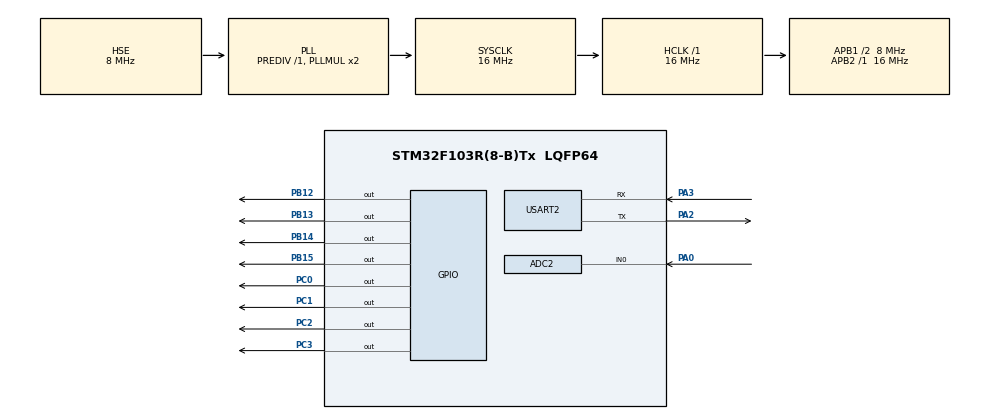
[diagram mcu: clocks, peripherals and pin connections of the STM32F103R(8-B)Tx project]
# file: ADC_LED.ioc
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ADC2.Channel-1\#ChannelRegularConversion=ADC_CHANNEL_0
ADC2.ContinuousConvMode=ENABLE
ADC2.NbrOfConversionFlag=1
ADC2.Rank-1\#ChannelRegularConversion=1
ADC2.SamplingTime-1\#ChannelRegularConversion=ADC_SAMPLETIME_13CYCLES_5
Mcu.Family=STM32F1
Mcu.Name=STM32F103R(8-B)Tx
Mcu.Package=LQFP64
NVIC.ADC1_2_IRQn=true\:0\:0\:false\:false\:true\:true\:true\:true
NVIC.PriorityGroup=NVIC_PRIORITYGROUP_4
PA0-WKUP.Signal=ADCx_IN0
PA2.Mode=Asynchronous
PA2.Signal=USART2_TX
PA3.Mode=Asynchronous
PA3.Signal=USART2_RX
PB12.Signal=GPIO_Output
PB13.Signal=GPIO_Output
PB14.Signal=GPIO_Output
PB15.Signal=GPIO_Output
PC0.Signal=GPIO_Output
PC1.Signal=GPIO_Output
PC14-OSC32_IN.Mode=LSE-External-Oscillator
PC14-OSC32_IN.Signal=RCC_OSC32_IN
PC15-OSC32_OUT.Mode=LSE-External-Oscillator
PC15-OSC32_OUT.Signal=RCC_OSC32_OUT
PC2.Signal=GPIO_Output
PC3.Signal=GPIO_Output
PD0-OSC_IN.Mode=HSE-External-Clock-Source
PD0-OSC_IN.Signal=RCC_OSC_IN
PD1-OSC_OUT.Mode=HSE-External-Clock-Source
PD1-OSC_OUT.Signal=RCC_OSC_OUT
ProjectManager.HeapSize=0x200
ProjectManager.StackSize=0x400
ProjectManager.TargetToolchain=STM32CubeIDE
RCC.AHBFreq_Value=16000000
RCC.APB1CLKDivider=RCC_HCLK_DIV2
RCC.APB1Freq_Value=8000000
RCC.APB1TimFreq_Value=16000000
RCC.APB2Freq_Value=16000000
RCC.APB2TimFreq_Value=16000000
RCC.HCLKFreq_Value=16000000
RCC.PLLSourceVirtual=RCC_PLLSOURCE_HSE
RCC.SYSCLKFreq_VALUE=16000000
RCC.SYSCLKSource=RCC_SYSCLKSOURCE_PLLCLK
RCC.USBFreq_Value=16000000
SH.ADCx_IN0.0=ADC2_IN0,IN0
USART2.VirtualMode=VM_ASYNC
board=custom

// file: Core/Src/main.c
/* USER CODE BEGIN Header */
/**
  ******************************************************************************
  * @file           : main.c
  * @brief          : Main program body
  ******************************************************************************
  * @attention
  *
  * Copyright (c) 2023 STMicroelectronics.
  * All rights reserved.
  *
  * This software is licensed under terms that can be found in the LICENSE file
  * in the root directory of this software component.
  * If no LICENSE file comes with this software, it is provided AS-IS.
  *
  ******************************************************************************
  */
/* USER CODE END Header */
#include "main.h"

/* USER CODE BEGIN Includes */
#include "stdio.h"

/* USER CODE END Includes */

/* USER CODE BEGIN PD */

#define ADC_MAX		4096
#define CDS_FACTOR		2.2
#define BASE_R			10
#define CDS_R_10LX		3 					// 주변 환경에 따라 변경 필요
#define CDS_R_3LX		CDS_R_10LX * CDS_FACTOR
#define CDS_R_1LX		CDS_R_3LX * CDS_FACTOR
#define CDS_R_0_3LX		CDS_R_1LX * CDS_FACTOR
#define CDS_R_0_1LX		CDS_R_0_3LX * CDS_FACTOR
#define CDS_R_0_03LX		CDS_R_0_1LX * CDS_FACTOR
#define CDS_R_0_01LX		CDS_R_0_03LX * CDS_FACTOR
#define CDS_R_0_003LX	CDS_R_0_01LX * CDS_FACTOR
#define ADC_10LX		(ADC_MAX * BASE_R) / (CDS_R_10LX + BASE_R)
#define ADC_3LX			(ADC_MAX * BASE_R) / (CDS_R_3LX + BASE_R)
#define ADC_1LX			(ADC_MAX * BASE_R) / (CDS_R_1LX + BASE_R)
#define ADC_0_3LX		(ADC_MAX * BASE_R) / (CDS_R_0_3LX + BASE_R)
#define ADC_0_1LX		(ADC_MAX * BASE_R) / (CDS_R_0_1LX + BASE_R)
#define ADC_0_03LX		(ADC_MAX * BASE_R) / (CDS_R_0_03LX + BASE_R)
#define ADC_0_01LX		(ADC_MAX * BASE_R) / (CDS_R_0_01LX + BASE_R)
#define ADC_0_003LX		(ADC_MAX * BASE_R) / (CDS_R_0_003LX + BASE_R)

/* USER CODE END PD */

ADC_HandleTypeDef hadc2;

UART_HandleTypeDef huart2;

/* USER CODE BEGIN PV */
int adc_value;
uint8_t count;

/* USER CODE END PV */

void SystemClock_Config(void);
static void MX_GPIO_Init(void);
static void MX_ADC2_Init(void);
static void MX_USART2_UART_Init(void);

/* USER CODE BEGIN 0 */
int __io_putchar(int ch) {
   HAL_UART_Transmit(&huart2, (uint8_t *)&ch, 1, 1000);
   if (ch == '\n')
      HAL_UART_Transmit(&huart2, (uint8_t *)"\r", 1, 1000);
   return ch;
}
typedef struct led {
  GPIO_TypeDef *port;
  uint16_t pin;
   } LED;
LED led[8] = {
  {GPIOC, GPIO_PIN_3},   {GPIOC, GPIO_PIN_2},
  {GPIOC, GPIO_PIN_1},   {GPIOC, GPIO_PIN_0},
  {GPIOB, GPIO_PIN_15},   {GPIOB, GPIO_PIN_14},
  {GPIOB, GPIO_PIN_13},   {GPIOB, GPIO_PIN_12},
};

void led_on(uint8_t count) {
  for(uint8_t i=0; i < count; i++) {
    HAL_GPIO_WritePin(led[i].port, led[i].pin, 1);
  }
}
void led_off() {
  for(uint8_t i=0; i < 8; i++) {
    HAL_GPIO_WritePin(led[i].port, led[i].pin, 0);
  }
}

/* USER CODE END 0 */

int main(void)
{

  /* MCU Configuration--------------------------------------------------------*/

  /* Reset of all peripherals, Initializes the Flash interface and the Systick. */
  HAL_Init();

  /* Configure the system clock */
  SystemClock_Config();

  /* Initialize all configured peripherals */
  MX_GPIO_Init();
  MX_ADC2_Init();
  MX_USART2_UART_Init();
  /* USER CODE BEGIN 2 */
  HAL_ADCEx_Calibration_Start(&hadc2);
  HAL_ADC_Start_IT(&hadc2);

  /* USER CODE END 2 */

  /* Infinite loop */
  /* USER CODE BEGIN WHILE */
  while (1)
  {

    /* USER CODE BEGIN 3 */
  }
  /* USER CODE END 3 */
}

/**
  * @brief System Clock Configuration
  * @retval None
  */
void SystemClock_Config(void)
{
  RCC_OscInitTypeDef RCC_OscInitStruct = {0};
  RCC_ClkInitTypeDef RCC_ClkInitStruct = {0};
  RCC_PeriphCLKInitTypeDef PeriphClkInit = {0};

  /** Initializes the RCC Oscillators according to the specified parameters
  * in the RCC_OscInitTypeDef structure.
  */
  RCC_OscInitStruct.OscillatorType = RCC_OSCILLATORTYPE_HSE;
  RCC_OscInitStruct.HSEState = RCC_HSE_BYPASS;
  RCC_OscInitStruct.HSEPredivValue = RCC_HSE_PREDIV_DIV1;
  RCC_OscInitStruct.HSIState = RCC_HSI_ON;
  RCC_OscInitStruct.PLL.PLLState = RCC_PLL_ON;
  RCC_OscInitStruct.PLL.PLLSource = RCC_PLLSOURCE_HSE;
  RCC_OscInitStruct.PLL.PLLMUL = RCC_PLL_MUL2;
  if (HAL_RCC_OscConfig(&RCC_OscInitStruct) != HAL_OK)
  {
    Error_Handler();
  }

  /** Initializes the CPU, AHB and APB buses clocks
  */
  RCC_ClkInitStruct.ClockType = RCC_CLOCKTYPE_HCLK|RCC_CLOCKTYPE_SYSCLK
                              |RCC_CLOCKTYPE_PCLK1|RCC_CLOCKTYPE_PCLK2;
  RCC_ClkInitStruct.SYSCLKSource = RCC_SYSCLKSOURCE_PLLCLK;
  RCC_ClkInitStruct.AHBCLKDivider = RCC_SYSCLK_DIV1;
  RCC_ClkInitStruct.APB1CLKDivider = RCC_HCLK_DIV2;
  RCC_ClkInitStruct.APB2CLKDivider = RCC_HCLK_DIV1;

  if (HAL_RCC_ClockConfig(&RCC_ClkInitStruct, FLASH_LATENCY_0) != HAL_OK)
  {
    Error_Handler();
  }
  PeriphClkInit.PeriphClockSelection = RCC_PERIPHCLK_ADC;
  PeriphClkInit.AdcClockSelection = RCC_ADCPCLK2_DIV2;
  if (HAL_RCCEx_PeriphCLKConfig(&PeriphClkInit) != HAL_OK)
  {
    Error_Handler();
  }
}

/**
  * @brief ADC2 Initialization Function
  * @param None
  * @retval None
  */
static void MX_ADC2_Init(void)
{

  /* USER CODE BEGIN ADC2_Init 0 */

  /* USER CODE END ADC2_Init 0 */

  ADC_ChannelConfTypeDef sConfig = {0};

  /* USER CODE BEGIN ADC2_Init 1 */

  /* USER CODE END ADC2_Init 1 */

  /** Common config
  */
  hadc2.Instance = ADC2;
  hadc2.Init.ScanConvMode = ADC_SCAN_DISABLE;
  hadc2.Init.ContinuousConvMode = ENABLE;
  hadc2.Init.DiscontinuousConvMode = DISABLE;
  hadc2.Init.ExternalTrigConv = ADC_SOFTWARE_START;
  hadc2.Init.DataAlign = ADC_DATAALIGN_RIGHT;
  hadc2.Init.NbrOfConversion = 1;
  if (HAL_ADC_Init(&hadc2) != HAL_OK)
  {
    Error_Handler();
  }

  /** Configure Regular Channel
  */
  sConfig.Channel = ADC_CHANNEL_0;
  sConfig.Rank = ADC_REGULAR_RANK_1;
  sConfig.SamplingTime = ADC_SAMPLETIME_13CYCLES_5;
  if (HAL_ADC_ConfigChannel(&hadc2, &sConfig) != HAL_OK)
  {
    Error_Handler();
  }
  /* USER CODE BEGIN ADC2_Init 2 */

  /* USER CODE END ADC2_Init 2 */

}

/**
  * @brief USART2 Initialization Function
  * @param None
  * @retval None
  */
static void MX_USART2_UART_Init(void)
{

  /* USER CODE BEGIN USART2_Init 0 */

  /* USER CODE END USART2_Init 0 */

  /* USER CODE BEGIN USART2_Init 1 */

  /* USER CODE END USART2_Init 1 */
  huart2.Instance = USART2;
  huart2.Init.BaudRate = 115200;
  huart2.Init.WordLength = UART_WORDLENGTH_8B;
  huart2.Init.StopBits = UART_STOPBITS_1;
  huart2.Init.Parity = UART_PARITY_NONE;
  huart2.Init.Mode = UART_MODE_TX_RX;
  huart2.Init.HwFlowCtl = UART_HWCONTROL_NONE;
  huart2.Init.OverSampling = UART_OVERSAMPLING_16;
  if (HAL_UART_Init(&huart2) != HAL_OK)
  {
    Error_Handler();
  }
  /* USER CODE BEGIN USART2_Init 2 */

  /* USER CODE END USART2_Init 2 */

}

/**
  * @brief GPIO Initialization Function
  * @param None
  * @retval None
  */
static void MX_GPIO_Init(void)
{
  GPIO_InitTypeDef GPIO_InitStruct = {0};
/* USER CODE BEGIN MX_GPIO_Init_1 */
/* USER CODE END MX_GPIO_Init_1 */

  /* GPIO Ports Clock Enable */
  __HAL_RCC_GPIOC_CLK_ENABLE();
  __HAL_RCC_GPIOD_CLK_ENABLE();
  __HAL_RCC_GPIOA_CLK_ENABLE();
  __HAL_RCC_GPIOB_CLK_ENABLE();

  /*Configure GPIO pin Output Level */
  HAL_GPIO_WritePin(GPIOC, GPIO_PIN_0|GPIO_PIN_1|GPIO_PIN_2|GPIO_PIN_3, GPIO_PIN_RESET);

  /*Configure GPIO pin Output Level */
  HAL_GPIO_WritePin(GPIOB, GPIO_PIN_12|GPIO_PIN_13|GPIO_PIN_14|GPIO_PIN_15, GPIO_PIN_RESET);

  /*Configure GPIO pins : PC0 PC1 PC2 PC3 */
  GPIO_InitStruct.Pin = GPIO_PIN_0|GPIO_PIN_1|GPIO_PIN_2|GPIO_PIN_3;
  GPIO_InitStruct.Mode = GPIO_MODE_OUTPUT_PP;
  GPIO_InitStruct.Pull = GPIO_NOPULL;
  GPIO_InitStruct.Speed = GPIO_SPEED_FREQ_LOW;
  HAL_GPIO_Init(GPIOC, &GPIO_InitStruct);

  /*Configure GPIO pins : PB12 PB13 PB14 PB15 */
  GPIO_InitStruct.Pin = GPIO_PIN_12|GPIO_PIN_13|GPIO_PIN_14|GPIO_PIN_15;
  GPIO_InitStruct.Mode = GPIO_MODE_OUTPUT_PP;
  GPIO_InitStruct.Pull = GPIO_NOPULL;
  GPIO_InitStruct.Speed = GPIO_SPEED_FREQ_LOW;
  HAL_GPIO_Init(GPIOB, &GPIO_InitStruct);

/* USER CODE BEGIN MX_GPIO_Init_2 */
/* USER CODE END MX_GPIO_Init_2 */
}

/* USER CODE BEGIN 4 */
void HAL_ADC_ConvCpltCallback(ADC_HandleTypeDef *hadc){
	adc_value =  HAL_ADC_GetValue(&hadc2);
	if(hadc == &hadc2){
		if(adc_value > ADC_10LX){
			count = 0;
			led_off();
		}
		if(adc_value == ADC_10LX){
			count = 1;
			led_off();
			led_on(count);
		}
		else if (adc_value >= ADC_3LX) {
			count = 2;
			led_off();
			led_on(count);
		}
		else if (adc_value >= ADC_1LX) {
			count = 3;
			led_off();
			led_on(count);
		}
		else if (adc_value >= ADC_0_3LX) {
			count = 4;
			led_off();
			led_on(count);
		}
		else if (adc_value >= ADC_0_1LX) {
			count = 5;
			led_off();
			led_on(count);
		}
		else if (adc_value >= ADC_0_03LX) {
			count = 6;
			led_off();
			led_on(count);
		}
		else if (adc_value >= ADC_0_01LX) {
			count = 7;
			led_off();
			led_on(count);
		}
		else if (adc_value >= ADC_0_003LX) {
			count = 8;
			led_off();
			led_on(count);
		}
	}
    /* USER CODE END WHILE */

  }
}

void SystemClock_Config(void)
{
  RCC_OscInitTypeDef RCC_OscInitStruct = {0};
  RCC_ClkInitTypeDef RCC_ClkInitStruct = {0};
  RCC_PeriphCLKInitTypeDef PeriphClkInit = {0};

  /** Initializes the RCC Oscillators according to the specified parameters
  * in the RCC_OscInitTypeDef structure.
  */
  RCC_OscInitStruct.OscillatorType = RCC_OSCILLATORTYPE_HSE;
  RCC_OscInitStruct.HSEState = RCC_HSE_BYPASS;
  RCC_OscInitStruct.HSEPredivValue = RCC_HSE_PREDIV_DIV1;
  RCC_OscInitStruct.HSIState = RCC_HSI_ON;
  RCC_OscInitStruct.PLL.PLLState = RCC_PLL_ON;
  RCC_OscInitStruct.PLL.PLLSource = RCC_PLLSOURCE_HSE;
  RCC_OscInitStruct.PLL.PLLMUL = RCC_PLL_MUL2;
  if (HAL_RCC_OscConfig(&RCC_OscInitStruct) != HAL_OK)
  {
    Error_Handler();
  }

  /** Initializes the CPU, AHB and APB buses clocks
  */
  RCC_ClkInitStruct.ClockType = RCC_CLOCKTYPE_HCLK|RCC_CLOCKTYPE_SYSCLK
                              |RCC_CLOCKTYPE_PCLK1|RCC_CLOCKTYPE_PCLK2;
  RCC_ClkInitStruct.SYSCLKSource = RCC_SYSCLKSOURCE_PLLCLK;
  RCC_ClkInitStruct.AHBCLKDivider = RCC_SYSCLK_DIV1;
  RCC_ClkInitStruct.APB1CLKDivider = RCC_HCLK_DIV2;
  RCC_ClkInitStruct.APB2CLKDivider = RCC_HCLK_DIV1;

  if (HAL_RCC_ClockConfig(&RCC_ClkInitStruct, FLASH_LATENCY_0) != HAL_OK)
  {
    Error_Handler();
  }
  PeriphClkInit.PeriphClockSelection = RCC_PERIPHCLK_ADC;
  PeriphClkInit.AdcClockSelection = RCC_ADCPCLK2_DIV2;
  if (HAL_RCCEx_PeriphCLKConfig(&PeriphClkInit) != HAL_OK)
  {
    Error_Handler();
  }
}

static void MX_ADC2_Init(void)
{

  ADC_ChannelConfTypeDef sConfig = {0};

  /** Common config
  */
  hadc2.Instance = ADC2;
  hadc2.Init.ScanConvMode = ADC_SCAN_DISABLE;
  hadc2.Init.ContinuousConvMode = ENABLE;
  hadc2.Init.DiscontinuousConvMode = DISABLE;
  hadc2.Init.ExternalTrigConv = ADC_SOFTWARE_START;
  hadc2.Init.DataAlign = ADC_DATAALIGN_RIGHT;
  hadc2.Init.NbrOfConversion = 1;
  if (HAL_ADC_Init(&hadc2) != HAL_OK)
  {
    Error_Handler();
  }

  /** Configure Regular Channel
  */
  sConfig.Channel = ADC_CHANNEL_0;
  sConfig.Rank = ADC_REGULAR_RANK_1;
  sConfig.SamplingTime = ADC_SAMPLETIME_13CYCLES_5;
  if (HAL_ADC_ConfigChannel(&hadc2, &sConfig) != HAL_OK)
  {
    Error_Handler();
  }

}

static void MX_USART2_UART_Init(void)
{

  huart2.Instance = USART2;
  huart2.Init.BaudRate = 115200;
  huart2.Init.WordLength = UART_WORDLENGTH_8B;
  huart2.Init.StopBits = UART_STOPBITS_1;
  huart2.Init.Parity = UART_PARITY_NONE;
  huart2.Init.Mode = UART_MODE_TX_RX;
  huart2.Init.HwFlowCtl = UART_HWCONTROL_NONE;
  huart2.Init.OverSampling = UART_OVERSAMPLING_16;
  if (HAL_UART_Init(&huart2) != HAL_OK)
  {
    Error_Handler();
  }

}

static void MX_GPIO_Init(void)
{
  GPIO_InitTypeDef GPIO_InitStruct = {0};

  /* GPIO Ports Clock Enable */
  __HAL_RCC_GPIOC_CLK_ENABLE();
  __HAL_RCC_GPIOD_CLK_ENABLE();
  __HAL_RCC_GPIOA_CLK_ENABLE();
  __HAL_RCC_GPIOB_CLK_ENABLE();

  /*Configure GPIO pin Output Level */
  HAL_GPIO_WritePin(GPIOC, GPIO_PIN_0|GPIO_PIN_1|GPIO_PIN_2|GPIO_PIN_3, GPIO_PIN_RESET);

  /*Configure GPIO pin Output Level */
  HAL_GPIO_WritePin(GPIOB, GPIO_PIN_12|GPIO_PIN_13|GPIO_PIN_14|GPIO_PIN_15, GPIO_PIN_RESET);

  /*Configure GPIO pins : PC0 PC1 PC2 PC3 */
  GPIO_InitStruct.Pin = GPIO_PIN_0|GPIO_PIN_1|GPIO_PIN_2|GPIO_PIN_3;
  GPIO_InitStruct.Mode = GPIO_MODE_OUTPUT_PP;
  GPIO_InitStruct.Pull = GPIO_NOPULL;
  GPIO_InitStruct.Speed = GPIO_SPEED_FREQ_LOW;
  HAL_GPIO_Init(GPIOC, &GPIO_InitStruct);

  /*Configure GPIO pins : PB12 PB13 PB14 PB15 */
  GPIO_InitStruct.Pin = GPIO_PIN_12|GPIO_PIN_13|GPIO_PIN_14|GPIO_PIN_15;
  GPIO_InitStruct.Mode = GPIO_MODE_OUTPUT_PP;
  GPIO_InitStruct.Pull = GPIO_NOPULL;
  GPIO_InitStruct.Speed = GPIO_SPEED_FREQ_LOW;
  HAL_GPIO_Init(GPIOB, &GPIO_InitStruct);

}

/* USER CODE BEGIN 4 */
void HAL_ADC_ConvCpltCallback(ADC_HandleTypeDef *hadc){
	adc_value =  HAL_ADC_GetValue(&hadc2);
	if(hadc == &hadc2){
		if(adc_value > ADC_10LX){
			count = 0;
			led_off();
		}
		if(adc_value == ADC_10LX){
			count = 1;
			led_off();
			led_on(count);
		}
		else if (adc_value >= ADC_3LX) {
			count = 2;
			led_off();
			led_on(count);
		}
		else if (adc_value >= ADC_1LX) {
			count = 3;
			led_off();
			led_on(count);
		}
		else if (adc_value >= ADC_0_3LX) {
			count = 4;
			led_off();
			led_on(count);
		}
		else if (adc_value >= ADC_0_1LX) {
			count = 5;
			led_off();
			led_on(count);
		}
		else if (adc_value >= ADC_0_03LX) {
			count = 6;
			led_off();
			led_on(count);
		}
		else if (adc_value >= ADC_0_01LX) {
			count = 7;
			led_off();
			led_on(count);
		}
		else if (adc_value >= ADC_0_003LX) {
			count = 8;
			led_off();
			led_on(count);
		}
	}
}		/* USER CODE END WHILE */

/* USER CODE END 4 */

void Error_Handler(void)
{
  __disable_irq();
  while (1)
  {
  }
}
